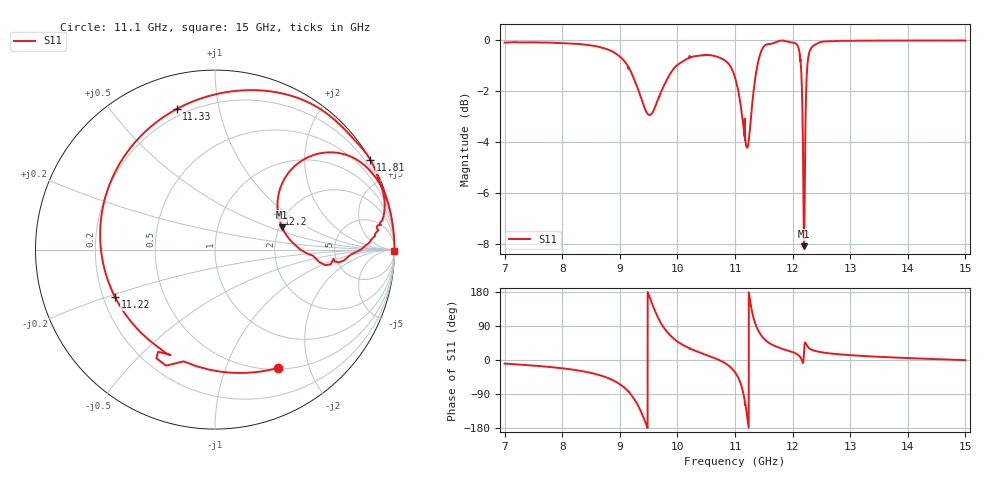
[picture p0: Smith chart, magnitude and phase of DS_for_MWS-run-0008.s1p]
! TOUCHSTONE file generated by CST DESIGN STUDIO
! Date and time: Mon Feb 10 16:52:26 2025
! Project name: C:\Work\MatlabApps\UnitCellType2OptimizationMatlab\CST\unitcell.cst
! Tree item: Tasks\Sweep1\SPara1\S-Parameters
! Header version: 2024
! Port assignment regex: !\s*Touchstone port\s*([0-9]+)\s*=\s*(CST MWS port|CST DES external port|CST DES block port)\s*(.+)\s* \(\"(.*)\"\)(\s*mode\s*([0-9]+))?.*
! Touchstone port assignment:
! Touchstone port 1 = CST DES external port 1 ("")
# GHz S MA R 50
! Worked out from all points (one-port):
!   4001 points, 7 GHz to 15 GHz, reference 50 ohm
!   lowest |S11| = -8.1 dB at 12.2 GHz (marker M1), VSWR 2.30, Z = 104 + j30.4 ohm
!   |S11| at or under -10 dB: nowhere
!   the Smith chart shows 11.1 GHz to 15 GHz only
!   S11 on the Smith chart (normalised r, x): 11.1 GHz: 0.52, -1.54; 11.22 GHz: 0.25, -0.21; 11.33 GHz: 0.16, +0.75; 11.81 GHz: 0.00, +3.74; 12.2 GHz: 1.81, +0.87; 15 GHz: open
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7  0.9906 -9.5
8  0.9886 -21.8
8.628  0.972 -39.0
9  0.9295 -63.8
9.276  0.8251 -109.0
9.482  0.7175 -179.6
9.6  0.7342 133.6
9.698  0.7829 101.8
10  0.8947 48.9
10.574  0.9357 9.3
11  0.8464 -32.4
11.098  0.7468 -62.0
11.162  0.6522 -102.0
11.216  0.6165 -154.6
11.264  0.6785 153.9
11.332  0.8117 105.3
11.514  0.9766 54.5
11.812  0.9997 29.9
12  0.9907 20.9
12.122  0.9358 9.5
12.162  0.7912 -0.8
12.198  0.3938 18.3
12.202  0.4043 29.7
12.262  0.9077 35.3
12.42  0.9856 22.9
13  0.9984 12.8
14  0.9998 5.1
15  0.9994 -0.5
